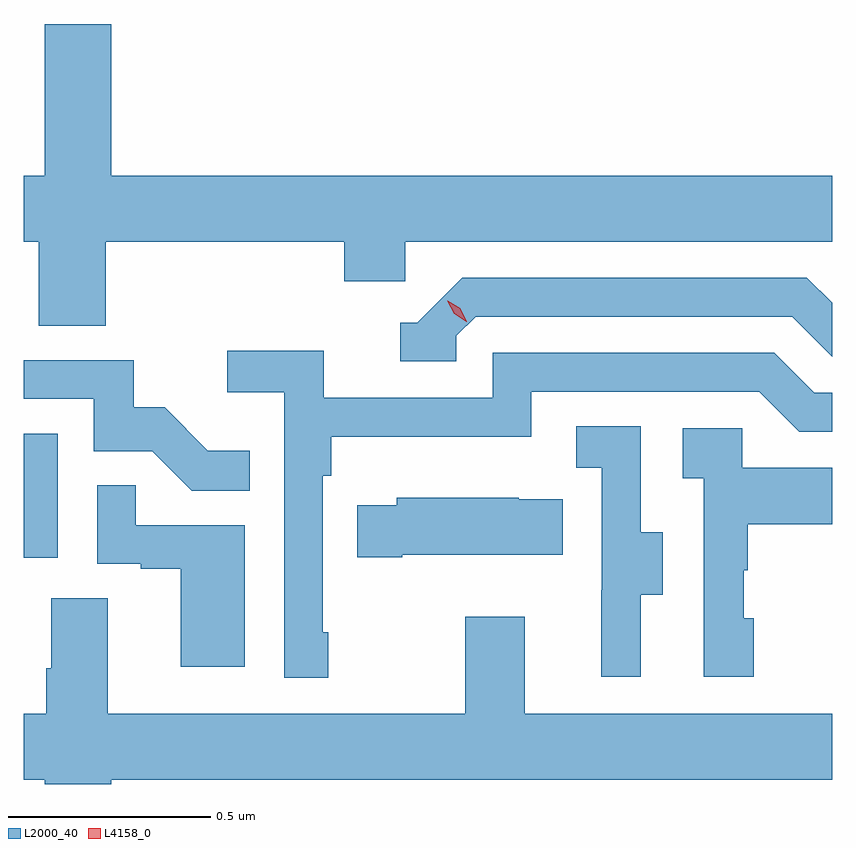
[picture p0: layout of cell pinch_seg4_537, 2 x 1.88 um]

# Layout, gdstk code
import gdstk
lib = gdstk.Library(unit=1e-6, precision=1e-09)
def R(c, l, rs):  # rectangles x0, y0, x1, y1
    for r in rs: c.add(gdstk.rectangle(r[:2], r[2:], *l))
def P(c, l, *ps):  # polygons
    for p in ps: c.add(gdstk.Polygon(p, *l))
L2000_40 = (2000, 40)
L4158_0 = (4158, 0)

pinch_seg4_537 = lib.new_cell('pinch_seg4_537')
R(pinch_seg4_537, L2000_40, [(1141.978,774.726,1142.062,775.033)])
P(pinch_seg4_537, L2000_40, [(1142.18,775.508),(1142.771,775.508),(1142.771,775.41),(1142.922,775.41),(1142.922,775.508),(1143.978,775.508),(1143.978,775.672),(1142.194,775.672),(1142.194,776.047),(1142.03,776.047),(1142.03,775.672),(1141.978,775.672),(1141.978,775.508),(1142.015,775.508),(1142.015,775.3),(1142.18,775.3)],
  [(1143.048,775.275),(1143.096,775.323),(1143.879,775.323),(1143.978,775.224),(1143.978,775.357),(1143.916,775.419),(1143.063,775.419),(1142.952,775.308),(1142.909,775.308),(1142.909,775.212),(1143.048,775.212)],
  [(1142.731,774.541),(1142.718,774.541),(1142.718,774.929),(1142.738,774.929),(1142.738,775.025),(1143.234,775.025),(1143.234,775.137),(1143.798,775.137),(1143.897,775.038),(1143.978,775.038),(1143.978,775.134),(1143.934,775.134),(1143.835,775.233),(1143.138,775.233),(1143.138,775.122),(1142.72,775.122),(1142.72,775.238),(1142.481,775.238),(1142.481,775.136),(1142.622,775.136),(1142.622,774.429),(1142.731,774.429)],
  [(1142.537,774.991),(1142.433,774.991),(1142.326,775.098),(1142.25,775.098),(1142.25,775.215),(1141.978,775.215),(1141.978,775.119),(1142.151,775.119),(1142.151,774.99),(1142.295,774.99),(1142.393,774.892),(1142.537,774.892)],
  [(1143.505,774.634),(1143.559,774.634),(1143.559,774.789),(1143.504,774.789),(1143.504,775.052),(1143.345,775.052),(1143.345,774.949),(1143.408,774.949),(1143.408,774.645),(1143.407,774.645),(1143.407,774.432),(1143.505,774.432)],
  [(1143.784,774.576),(1143.759,774.576),(1143.759,774.695),(1143.769,774.695),(1143.769,774.809),(1143.978,774.809),(1143.978,774.949),(1143.756,774.949),(1143.756,775.047),(1143.609,775.047),(1143.609,774.923),(1143.66,774.923),(1143.66,774.432),(1143.784,774.432)],
  [(1142.524,774.807),(1142.255,774.807),(1142.255,774.905),(1142.16,774.905),(1142.16,774.711),(1142.267,774.711),(1142.267,774.699),(1142.366,774.699),(1142.366,774.456),(1142.524,774.456)],
  [(1142.914,774.734),(1143.311,774.734),(1143.311,774.871),(1143.203,774.871),(1143.203,774.874),(1142.901,774.874),(1142.901,774.856),(1142.803,774.856),(1142.803,774.727),(1142.914,774.727)],
  [(1142.194,774.176),(1143.978,774.176),(1143.978,774.34),(1143.217,774.34),(1143.217,774.58),(1143.07,774.58),(1143.07,774.34),(1142.185,774.34),(1142.185,774.626),(1142.045,774.626),(1142.045,774.452),(1142.033,774.452),(1142.033,774.34),(1141.978,774.34),(1141.978,774.176),(1142.03,774.176),(1142.03,774.166),(1142.194,774.166)])
P(pinch_seg4_537, L4158_0, [(1143.073,775.31),(1143.043,775.33),(1143.026,775.362),(1143.026,775.362),(1143.027,775.362),(1143.058,775.343),(1143.074,775.311),(1143.074,775.31)])

lib.write_gds('pinch_seg4_537.gds')
